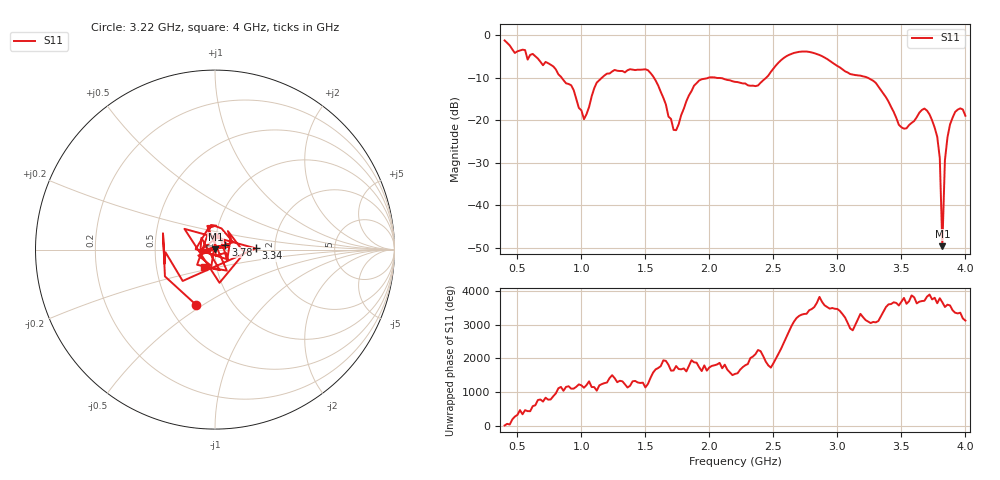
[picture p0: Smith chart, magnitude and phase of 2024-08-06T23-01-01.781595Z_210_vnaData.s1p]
!Created with skrf (http://scikit-rf.org).
# Hz S RI R 50.0
!freq ReS11 ImS11
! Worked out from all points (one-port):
!   181 points, 400 MHz to 4 GHz, reference 50 ohm
!   lowest |S11| = -49.6 dB at 3.82 GHz (marker M1), VSWR 1.01, Z = 50.2 + j0.268 ohm
!   |S11| at or under -10 dB: 1.568 GHz to 1.989 GHz (421.2 MHz wide, 23.7 % of centre); 2.058 GHz to 2.442 GHz (384.3 MHz wide, 17.1 % of centre); 3.24 GHz to end of sweep (the widest 3 of 4)
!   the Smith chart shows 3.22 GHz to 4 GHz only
!   S11 on the Smith chart (normalised r, x): 3.22 GHz: 0.68, -0.47; 3.34 GHz: 1.59, +0.02; 3.78 GHz: 1.12, +0.06; 4 GHz: 0.87, -0.17
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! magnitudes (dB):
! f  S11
! 400 MHz  -1.2
! 860 MHz  -10.5
! 920 MHz  -11.7
! 1.02 GHz  -19.7
! 1.12 GHz  -11.1
! 1.3 GHz  -8.4
! 1.52 GHz  -8.2
! 1.6 GHz  -11.8
! 1.72 GHz  -22.2
! 1.76 GHz  -20.9
! 1.92 GHz  -10.6
! 2.2 GHz  -10.9
! 2.38 GHz  -11.8
! 2.66 GHz  -4.1
! 2.86 GHz  -4.6
! 3.1 GHz  -9.1
! 3.22 GHz  -9.8
! 3.34 GHz  -12.9
! 3.48 GHz  -21.0
! 3.56 GHz  -21.1
! 3.68 GHz  -17.2
! 3.78 GHz  -23.9
! 3.8 GHz  -28.9
! 3.82 GHz  -49.6
! 3.84 GHz  -29.4
! 3.86 GHz  -24.0
! 3.92 GHz  -18.0
! 4 GHz  -18.9
